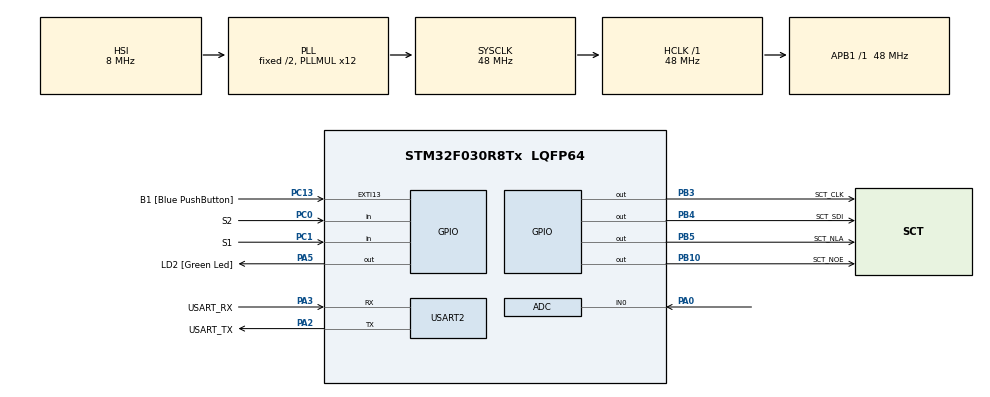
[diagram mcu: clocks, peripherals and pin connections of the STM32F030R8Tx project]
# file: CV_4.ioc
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ADC.ContinuousConvMode=ENABLE
ADC.Overrun=ADC_OVR_DATA_OVERWRITTEN
ADC.SamplingTime=ADC_SAMPLETIME_239CYCLES_5
Mcu.Family=STM32F0
Mcu.Name=STM32F030R8Tx
Mcu.Package=LQFP64
NVIC.ADC1_IRQn=true\:0\:0\:false\:false\:true\:true\:true\:true
PA0.Mode=IN0
PA0.Signal=ADC_IN0
PA13.GPIO_Label=TMS
PA13.Mode=Serial_Wire
PA13.Signal=SYS_SWDIO
PA14.GPIO_Label=TCK
PA14.Mode=Serial_Wire
PA14.Signal=SYS_SWCLK
PA2.GPIO_Label=USART_TX
PA2.GPIO_Mode=GPIO_MODE_AF_PP
PA2.GPIO_PuPd=GPIO_NOPULL
PA2.GPIO_Speed=GPIO_SPEED_FREQ_LOW
PA2.Mode=Asynchronous
PA2.Signal=USART2_TX
PA3.GPIO_Label=USART_RX
PA3.GPIO_Mode=GPIO_MODE_AF_PP
PA3.GPIO_PuPd=GPIO_NOPULL
PA3.GPIO_Speed=GPIO_SPEED_FREQ_LOW
PA3.Mode=Asynchronous
PA3.Signal=USART2_RX
PA5.GPIO_Label=LD2 [Green Led]
PA5.GPIO_Mode=GPIO_MODE_OUTPUT_PP
PA5.GPIO_PuPd=GPIO_NOPULL
PA5.GPIO_Speed=GPIO_SPEED_FREQ_LOW
PA5.Signal=GPIO_Output
PB10.GPIO_Label=SCT_NOE
PB10.Signal=GPIO_Output
PB3.GPIO_Label=SCT_CLK
PB3.Signal=GPIO_Output
PB4.GPIO_Label=SCT_SDI
PB4.Signal=GPIO_Output
PB5.GPIO_Label=SCT_NLA
PB5.Signal=GPIO_Output
PC0.GPIO_Label=S2
PC0.GPIO_PuPd=GPIO_PULLUP
PC0.Signal=GPIO_Input
PC1.GPIO_Label=S1
PC1.GPIO_PuPd=GPIO_PULLUP
PC1.Signal=GPIO_Input
PC13.GPIO_Label=B1 [Blue PushButton]
PC13.GPIO_ModeDefaultEXTI=GPIO_MODE_IT_FALLING
PC13.Signal=GPXTI13
PC14-OSC32_IN.Mode=LSE-External-Oscillator
PC14-OSC32_IN.Signal=RCC_OSC32_IN
PC15-OSC32_OUT.Mode=LSE-External-Oscillator
PC15-OSC32_OUT.Signal=RCC_OSC32_OUT
PF0-OSC_IN.Mode=HSE-External-Clock-Source
PF0-OSC_IN.Signal=RCC_OSC_IN
PF1-OSC_OUT.Signal=RCC_OSC_OUT
ProjectManager.HeapSize=0x200
ProjectManager.StackSize=0x400
ProjectManager.TargetToolchain=STM32CubeIDE
RCC.AHBFreq_Value=48000000
RCC.APB1Freq_Value=48000000
RCC.APB1TimFreq_Value=48000000
RCC.HCLKFreq_Value=48000000
RCC.PLLMUL=RCC_PLL_MUL12
RCC.SYSCLKFreq_VALUE=48000000
RCC.SYSCLKSource=RCC_SYSCLKSOURCE_PLLCLK
USART2.VirtualMode-Asynchronous=VM_ASYNC
VP_ADC_TempSens_Input.Mode=IN-TempSens
VP_ADC_Vref_Input.Mode=IN-Vrefint
board=NUCLEO-F030R8

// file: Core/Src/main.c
/* USER CODE BEGIN Header */
/**
  ******************************************************************************
  * @file           : main.c
  * @brief          : Main program body
  ******************************************************************************
  * @attention
  *
  * Copyright (c) 2022 STMicroelectronics.
  * All rights reserved.
  *
  * This software is licensed under terms that can be found in the LICENSE file
  * in the root directory of this software component.
  * If no LICENSE file comes with this software, it is provided AS-IS.
  *
  ******************************************************************************
  */
/* USER CODE END Header */
#include "main.h"

/* USER CODE BEGIN Includes */
#include "sct.h"
/* USER CODE END Includes */

/* USER CODE BEGIN PTD */
#define ADC_Q 12

/* Temperature sensor calibration value address */
#define TEMP110_CAL_ADDR ((uint16_t*) ((uint32_t) 0x1FFFF7C2))
#define TEMP30_CAL_ADDR ((uint16_t*) ((uint32_t) 0x1FFFF7B8))
/* Internal voltage reference calibration value address */
#define VREFINT_CAL_ADDR ((uint16_t*) ((uint32_t) 0x1FFFF7BA))

/* USER CODE END PTD */

ADC_HandleTypeDef hadc;

UART_HandleTypeDef huart2;

/* USER CODE BEGIN PV */

static volatile uint32_t raw_pot;
static volatile uint32_t raw_temp;
static volatile uint32_t raw_volt;

/* USER CODE END PV */

void SystemClock_Config(void);
static void MX_GPIO_Init(void);
static void MX_USART2_UART_Init(void);
static void MX_ADC_Init(void);

/* USER CODE BEGIN 0 */

void HAL_ADC_ConvCpltCallback(ADC_HandleTypeDef* hadc)
{
	static uint8_t channel;

    if (channel == 0) {
    	static uint32_t avg_pot;
    	raw_pot = avg_pot >> ADC_Q;
    	avg_pot -= raw_pot;
    	avg_pot += HAL_ADC_GetValue(hadc);
	}
    else if (channel == 1) {
    	raw_temp = HAL_ADC_GetValue(hadc);
    }
    else if (channel == 2) {
    	raw_volt = HAL_ADC_GetValue(hadc);
    }

    if (__HAL_ADC_GET_FLAG(hadc, ADC_FLAG_EOS)) channel = 0;
    else channel++;

}

/* USER CODE END 0 */

int main(void)
{

  /* MCU Configuration--------------------------------------------------------*/

  /* Reset of all peripherals, Initializes the Flash interface and the Systick. */
  HAL_Init();

  /* Configure the system clock */
  SystemClock_Config();

  /* Initialize all configured peripherals */
  MX_GPIO_Init();
  MX_USART2_UART_Init();
  MX_ADC_Init();
  /* USER CODE BEGIN 2 */

  sct_init();    //init led driveru

  HAL_ADCEx_Calibration_Start(&hadc);    //autokalibrace
  HAL_ADC_Start_IT(&hadc);				 //ADC s volanim preruseni po dokonceni prevodu

  /* USER CODE END 2 */

  /* Infinite loop */
  while (1)
  {

    /* USER CODE BEGIN 3 */

	static enum { SHOW_POT, SHOW_VOLT, SHOW_TEMP } state = SHOW_POT;   //stavovy automat
	static uint32_t delay;

	if (state == SHOW_POT) {
		sct_value(raw_pot * 501 / 4096, raw_pot * 9 / 4096); // zobrazeni hodnoty z potaku

	}
	else if (state == SHOW_VOLT) {
		uint32_t voltage = 330 * (*VREFINT_CAL_ADDR) / raw_volt;    //vypocet napeti
		sct_value(voltage, 0);	//zobrazeni naveti bez bargrafu
	}
	else if (state == SHOW_TEMP) {
		int32_t temperature = (raw_temp - (int32_t)(*TEMP30_CAL_ADDR));				//vypocet teploty
		temperature = temperature * (int32_t)(110 - 30);
		temperature = temperature / (int32_t)(*TEMP110_CAL_ADDR - *TEMP30_CAL_ADDR);
		temperature = temperature + 30;
		sct_value(temperature, 0);		//zobrazeni teploty bez bargrafu => 0
	}

	if (HAL_GPIO_ReadPin(S2_GPIO_Port,S2_Pin) == 0) {		//cteni tlacitek S2
		state = SHOW_VOLT;
		delay = HAL_GetTick();
	}
	else if (HAL_GPIO_ReadPin(S1_GPIO_Port,S1_Pin) == 0) { //cteni tlacitek S1
		state = SHOW_TEMP;
		delay = HAL_GetTick();
	}

	if (HAL_GetTick() > 1000 + delay) {					//casovat pro navrat na pot
		state = SHOW_POT;
	}

  }
  /* USER CODE END 3 */
}

void SystemClock_Config(void)
{
  RCC_OscInitTypeDef RCC_OscInitStruct = {0};
  RCC_ClkInitTypeDef RCC_ClkInitStruct = {0};

  /** Initializes the RCC Oscillators according to the specified parameters
  * in the RCC_OscInitTypeDef structure.
  */
  RCC_OscInitStruct.OscillatorType = RCC_OSCILLATORTYPE_HSI|RCC_OSCILLATORTYPE_HSI14;
  RCC_OscInitStruct.HSIState = RCC_HSI_ON;
  RCC_OscInitStruct.HSI14State = RCC_HSI14_ON;
  RCC_OscInitStruct.HSICalibrationValue = RCC_HSICALIBRATION_DEFAULT;
  RCC_OscInitStruct.HSI14CalibrationValue = 16;
  RCC_OscInitStruct.PLL.PLLState = RCC_PLL_ON;
  RCC_OscInitStruct.PLL.PLLSource = RCC_PLLSOURCE_HSI;
  RCC_OscInitStruct.PLL.PLLMUL = RCC_PLL_MUL12;
  RCC_OscInitStruct.PLL.PREDIV = RCC_PREDIV_DIV1;
  if (HAL_RCC_OscConfig(&RCC_OscInitStruct) != HAL_OK)
  {
    Error_Handler();
  }

  /** Initializes the CPU, AHB and APB buses clocks
  */
  RCC_ClkInitStruct.ClockType = RCC_CLOCKTYPE_HCLK|RCC_CLOCKTYPE_SYSCLK
                              |RCC_CLOCKTYPE_PCLK1;
  RCC_ClkInitStruct.SYSCLKSource = RCC_SYSCLKSOURCE_PLLCLK;
  RCC_ClkInitStruct.AHBCLKDivider = RCC_SYSCLK_DIV1;
  RCC_ClkInitStruct.APB1CLKDivider = RCC_HCLK_DIV1;

  if (HAL_RCC_ClockConfig(&RCC_ClkInitStruct, FLASH_LATENCY_1) != HAL_OK)
  {
    Error_Handler();
  }
}

static void MX_ADC_Init(void)
{

  ADC_ChannelConfTypeDef sConfig = {0};

  /** Configure the global features of the ADC (Clock, Resolution, Data Alignment and number of conversion)
  */
  hadc.Instance = ADC1;
  hadc.Init.ClockPrescaler = ADC_CLOCK_ASYNC_DIV1;
  hadc.Init.Resolution = ADC_RESOLUTION_12B;
  hadc.Init.DataAlign = ADC_DATAALIGN_RIGHT;
  hadc.Init.ScanConvMode = ADC_SCAN_DIRECTION_FORWARD;
  hadc.Init.EOCSelection = ADC_EOC_SINGLE_CONV;
  hadc.Init.LowPowerAutoWait = DISABLE;
  hadc.Init.LowPowerAutoPowerOff = DISABLE;
  hadc.Init.ContinuousConvMode = ENABLE;
  hadc.Init.DiscontinuousConvMode = DISABLE;
  hadc.Init.ExternalTrigConv = ADC_SOFTWARE_START;
  hadc.Init.ExternalTrigConvEdge = ADC_EXTERNALTRIGCONVEDGE_NONE;
  hadc.Init.DMAContinuousRequests = DISABLE;
  hadc.Init.Overrun = ADC_OVR_DATA_OVERWRITTEN;
  if (HAL_ADC_Init(&hadc) != HAL_OK)
  {
    Error_Handler();
  }

  /** Configure for the selected ADC regular channel to be converted.
  */
  sConfig.Channel = ADC_CHANNEL_0;
  sConfig.Rank = ADC_RANK_CHANNEL_NUMBER;
  sConfig.SamplingTime = ADC_SAMPLETIME_239CYCLES_5;
  if (HAL_ADC_ConfigChannel(&hadc, &sConfig) != HAL_OK)
  {
    Error_Handler();
  }

  /** Configure for the selected ADC regular channel to be converted.
  */
  sConfig.Channel = ADC_CHANNEL_TEMPSENSOR;
  if (HAL_ADC_ConfigChannel(&hadc, &sConfig) != HAL_OK)
  {
    Error_Handler();
  }

  /** Configure for the selected ADC regular channel to be converted.
  */
  sConfig.Channel = ADC_CHANNEL_VREFINT;
  if (HAL_ADC_ConfigChannel(&hadc, &sConfig) != HAL_OK)
  {
    Error_Handler();
  }

}

static void MX_USART2_UART_Init(void)
{

  huart2.Instance = USART2;
  huart2.Init.BaudRate = 38400;
  huart2.Init.WordLength = UART_WORDLENGTH_8B;
  huart2.Init.StopBits = UART_STOPBITS_1;
  huart2.Init.Parity = UART_PARITY_NONE;
  huart2.Init.Mode = UART_MODE_TX_RX;
  huart2.Init.HwFlowCtl = UART_HWCONTROL_NONE;
  huart2.Init.OverSampling = UART_OVERSAMPLING_16;
  huart2.Init.OneBitSampling = UART_ONE_BIT_SAMPLE_DISABLE;
  huart2.AdvancedInit.AdvFeatureInit = UART_ADVFEATURE_NO_INIT;
  if (HAL_UART_Init(&huart2) != HAL_OK)
  {
    Error_Handler();
  }

}

static void MX_GPIO_Init(void)
{
  GPIO_InitTypeDef GPIO_InitStruct = {0};

  /* GPIO Ports Clock Enable */
  __HAL_RCC_GPIOC_CLK_ENABLE();
  __HAL_RCC_GPIOF_CLK_ENABLE();
  __HAL_RCC_GPIOA_CLK_ENABLE();
  __HAL_RCC_GPIOB_CLK_ENABLE();

  /*Configure GPIO pin Output Level */
  HAL_GPIO_WritePin(GPIOA, GPIO_PIN_5, GPIO_PIN_RESET);

  /*Configure GPIO pin Output Level */
  HAL_GPIO_WritePin(GPIOB, GPIO_PIN_10|GPIO_PIN_3|GPIO_PIN_4|GPIO_PIN_5, GPIO_PIN_RESET);

  /*Configure GPIO pin : PC13 */
  GPIO_InitStruct.Pin = GPIO_PIN_13;
  GPIO_InitStruct.Mode = GPIO_MODE_IT_FALLING;
  GPIO_InitStruct.Pull = GPIO_NOPULL;
  HAL_GPIO_Init(GPIOC, &GPIO_InitStruct);

  /*Configure GPIO pins : PC0 PC1 */
  GPIO_InitStruct.Pin = GPIO_PIN_0|GPIO_PIN_1;
  GPIO_InitStruct.Mode = GPIO_MODE_INPUT;
  GPIO_InitStruct.Pull = GPIO_PULLUP;
  HAL_GPIO_Init(GPIOC, &GPIO_InitStruct);

  /*Configure GPIO pin : PA5 */
  GPIO_InitStruct.Pin = GPIO_PIN_5;
  GPIO_InitStruct.Mode = GPIO_MODE_OUTPUT_PP;
  GPIO_InitStruct.Pull = GPIO_NOPULL;
  GPIO_InitStruct.Speed = GPIO_SPEED_FREQ_LOW;
  HAL_GPIO_Init(GPIOA, &GPIO_InitStruct);

  /*Configure GPIO pins : PB10 PB3 PB4 PB5 */
  GPIO_InitStruct.Pin = GPIO_PIN_10|GPIO_PIN_3|GPIO_PIN_4|GPIO_PIN_5;
  GPIO_InitStruct.Mode = GPIO_MODE_OUTPUT_PP;
  GPIO_InitStruct.Pull = GPIO_NOPULL;
  GPIO_InitStruct.Speed = GPIO_SPEED_FREQ_LOW;
  HAL_GPIO_Init(GPIOB, &GPIO_InitStruct);

}

void Error_Handler(void)
{
  __disable_irq();
  while (1)
  {
  }
}
